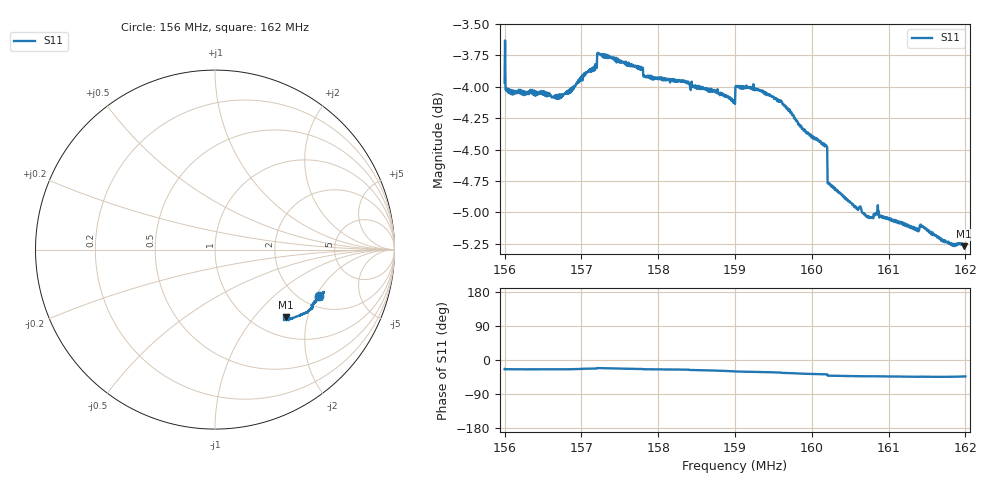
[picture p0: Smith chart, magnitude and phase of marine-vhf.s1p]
! Calibrated averaged scanner-service zoom
# Hz S RI R 50
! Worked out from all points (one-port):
!   1001 points, 156 MHz to 162 MHz, reference 50 ohm
!   lowest |S11| = -5.3 dB at 161.98 MHz (marker M1), VSWR 3.40, Z = 69.5 - j74.2 ohm
!   |S11| at or under -10 dB: nowhere
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1.56e8  0.5784 -0.2582
1.56096e8  0.572 -0.2589
1.5675e8  0.5684 -0.2607
1.5717e8  0.5938 -0.2465
1.57236e8  0.6055 -0.2368
1.575e8  0.5967 -0.2489
1.5777e8  0.587 -0.2575
1.57836e8  0.5795 -0.2637
1.5825e8  0.5735 -0.2697
1.5837e8  0.5726 -0.2724
1.58436e8  0.5678 -0.282
1.5882e8  0.5511 -0.299
1.59e8  0.5374 -0.3115
1.59168e8  0.5399 -0.3256
1.59468e8  0.5284 -0.3349
1.5957e8  0.5223 -0.3389
1.59636e8  0.5139 -0.3479
1.5975e8  0.5042 -0.3517
1.599e8  0.4885 -0.359
1.6017e8  0.4729 -0.3651
1.60236e8  0.4324 -0.3826
1.605e8  0.4191 -0.3825
1.60728e8  0.4097 -0.3813
1.60842e8  0.411 -0.3822
1.6125e8  0.4002 -0.3861
1.6173e8  0.3907 -0.383
1.61982e8  0.3959 -0.3749
1.62e8  0.3966 -0.3753
